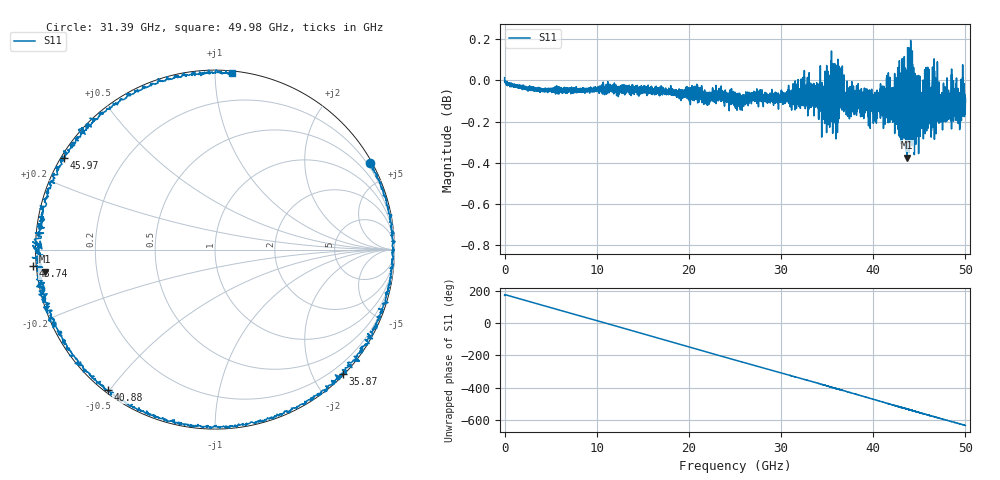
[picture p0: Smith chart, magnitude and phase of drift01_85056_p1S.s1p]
!Created with skrf (http://scikit-rf.org).
# Hz S RI R 50.0
!freq ReS11 ImS11
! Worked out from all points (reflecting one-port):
!   10001 points, 300 kHz to 50 GHz, reference 50 ohm
!   lowest |S11| = -0.4 dB at 43.66 GHz (marker M1), VSWR 46.35, Z = 1.08 - j3.23 ohm
!   phase of S11 starts at 174 deg and turns -810 deg over the sweep
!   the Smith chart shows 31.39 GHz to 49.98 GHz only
!   S11 on the Smith chart (normalised r, x): 31.39 GHz: 0.08, +3.85; 35.87 GHz: 0.03, -2.46; 40.88 GHz: 0.01, -0.49; 43.74 GHz: -0.01, -0.04; 45.97 GHz: 0.01, +0.28; 49.98 GHz: 0.02, +1.10
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300000  -0.9966 0.0996
1.70529e9  -0.8791 0.4677
3.605278e9  -0.5128 0.8525
6.250262e9  0.2057 0.9721
9.575243e9  0.9077 0.4061
1.250022e10  0.9138 -0.3944
1.575521e10  0.2296 -0.9659
1.72202e10  -0.1843 -0.9759
1.875019e10  -0.5819 -0.8046
2.047018e10  -0.897 -0.4316
2.189017e10  -0.9908 -0.0409
2.338516e10  -0.9189 0.372
2.500015e10  -0.6603 0.737
2.806513e10  0.1286 0.9813
3.125011e10  0.8474 0.5181
3.139011e10  0.8647 0.481
3.36201e10  0.9817 -0.1175
3.586508e10  0.7114 -0.6925
3.750008e10  0.3228 -0.9429
3.919006e10  -0.1569 -0.9754
4.087505e10  -0.5988 -0.7828
4.365504e10  -0.9498 -0.1233
4.373504e10  -1.015 -0.0904
4.375004e10  -0.9683 -0.0883
4.597002e10  -0.839 0.513
4.798501e10  -0.4405 0.8798
4.998e10  0.0972 0.9814
5e10  0.1006 0.9829
